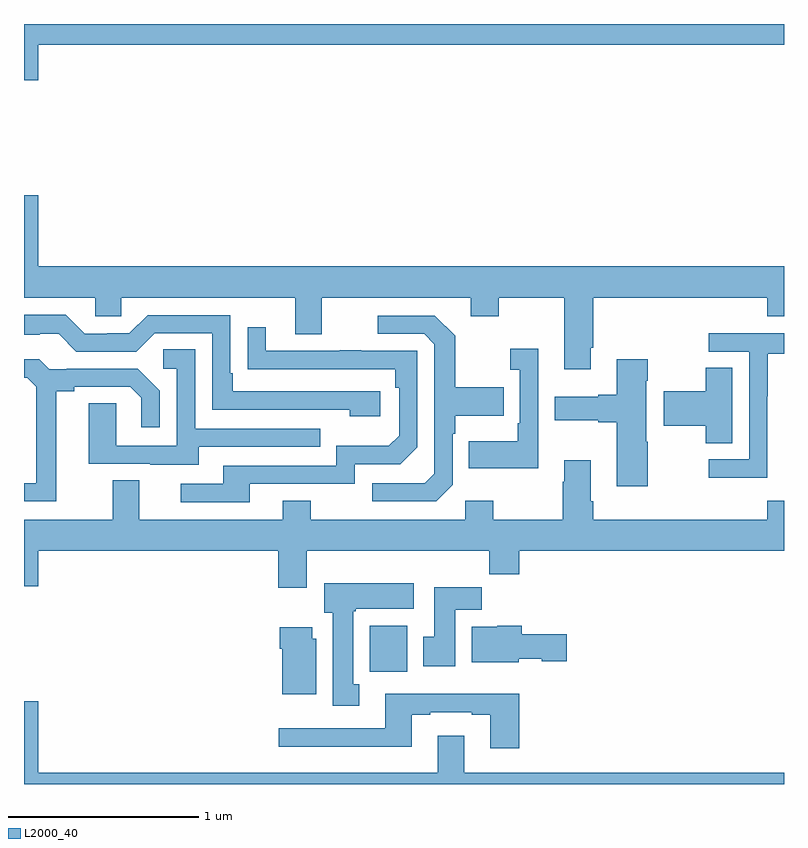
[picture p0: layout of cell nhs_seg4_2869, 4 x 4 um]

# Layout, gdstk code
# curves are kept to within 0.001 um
import gdstk
lib = gdstk.Library(unit=1e-6, precision=1e-09)
def R(c, l, rs):  # rectangles x0, y0, x1, y1
    for r in rs: c.add(gdstk.rectangle(r[:2], r[2:], *l))
def P(c, l, *ps):  # polygons
    for p in ps: c.add(gdstk.Polygon(p, *l))
L2000_40 = (2000, 40)

nhs_seg4_2869 = lib.new_cell('nhs_seg4_2869')
R(nhs_seg4_2869, L2000_40, [(262.82,821.492,263.017,821.734)])
P(nhs_seg4_2869, L2000_40, [(261.076,824.792),(265,824.792),(265,824.9),(261,824.9),(261,824.604),(261.076,824.604)],
  [(263.983,823.195),(263.996,823.195),(263.996,823.46),(264.911,823.46),(264.911,823.361),(265,823.361),(265,823.624),(261.076,823.624),(261.076,823.999),(261,823.999),(261,823.46),(261.375,823.46),(261.375,823.362),(261.513,823.362),(261.513,823.46),(262.427,823.46),(262.427,823.266),(262.567,823.266),(262.567,823.46),(263.351,823.46),(263.351,823.361),(263.499,823.361),(263.499,823.46),(263.843,823.46),(263.843,823.083),(263.983,823.083)],
  [(262.876,822.966),(262.099,822.966),(262.099,823.063),(262.086,823.063),(262.086,823.368),(261.651,823.368),(261.555,823.272),(261.437,823.272),(261.437,823.269),(261.321,823.269),(261.221,823.369),(261,823.369),(261,823.265),(261.083,823.265),(261.083,823.269),(261.183,823.269),(261.276,823.176),(261.591,823.176),(261.687,823.272),(261.99,823.272),(261.99,822.87),(262.715,822.87),(262.715,822.836),(262.876,822.836)],
  [(263.256,822.474),(263.256,822.743),(263.269,822.743),(263.269,822.839),(263.525,822.839),(263.525,822.987),(263.269,822.987),(263.269,823.259),(263.163,823.365),(262.863,823.365),(262.863,823.269),(263.106,823.269),(263.16,823.215),(263.16,822.534),(263.109,822.483),(262.833,822.483),(262.833,822.387),(263.169,822.387)],
  [(262.189,822.48),(262.74,822.48),(262.74,822.582),(262.98,822.582),(263.07,822.672),(263.07,823.179),(262.775,823.179),(262.775,823.184),(262.663,823.184),(262.663,823.179),(262.273,823.179),(262.273,823.303),(262.177,823.303),(262.177,823.084),(262.954,823.083),(262.954,822.986),(262.974,822.986),(262.974,822.732),(262.921,822.679),(262.644,822.679),(262.644,822.576),(262.049,822.576),(262.049,822.48),(261.825,822.48),(261.825,822.384),(262.189,822.384)],
  [(264.912,822.94),(264.915,822.94),(264.915,823.164),(265,823.164),(265,823.272),(264.603,823.272),(264.603,823.176),(264.816,823.176),(264.816,822.609),(264.603,822.609),(264.603,822.511),(264.912,822.511)],
  [(263.706,823.192),(263.559,823.192),(263.559,823.079),(263.61,823.079),(263.61,822.799),(263.598,822.799),(263.598,822.703),(263.341,822.703),(263.341,822.563),(263.706,822.563)],
  [(261.919,822.675),(262.559,822.675),(262.559,822.771),(261.9,822.771),(261.9,823.187),(261.732,823.187),(261.732,823.086),(261.804,823.086),(261.804,822.681),(261.486,822.681),(261.486,822.905),(261.341,822.905),(261.341,822.585),(261.665,822.585),(261.665,822.581),(261.919,822.581)],
  [(264.282,822.701),(264.274,822.701),(264.274,823.022),(264.282,823.022),(264.282,823.135),(264.119,823.135),(264.119,822.95),(264.023,822.95),(264.023,822.937),(263.793,822.937),(263.793,822.815),(264.023,822.815),(264.023,822.803),(264.119,822.803),(264.119,822.468),(264.282,822.468)],
  [(261.169,822.968),(261.265,822.968),(261.265,822.99),(261.56,822.99),(261.617,822.933),(261.617,822.777),(261.714,822.777),(261.714,822.97),(261.598,823.086),(261.226,823.086),(261.226,823.083),(261.132,823.083),(261.08,823.135),(261,823.135),(261,823.038),(261.018,823.038),(261.065,822.991),(261.065,822.483),(261,822.483),(261,822.387),(261.169,822.387)],
  [(264.727,823.091),(264.589,823.091),(264.589,822.968),(264.366,822.968),(264.366,822.785),(264.589,822.785),(264.589,822.694),(264.727,822.694)],
  [(262.489,822.128),(263.449,822.128),(263.449,822.004),(263.606,822.004),(263.606,822.128),(265,822.128),(265,822.391),(264.911,822.391),(264.911,822.292),(263.996,822.292),(263.996,822.388),(263.983,822.388),(263.983,822.604),(263.843,822.604),(263.843,822.491),(263.836,822.491),(263.836,822.292),(263.469,822.292),(263.469,822.391),(263.322,822.391),(263.322,822.292),(262.509,822.292),(262.509,822.391),(262.361,822.391),(262.361,822.292),(261.607,822.292),(261.607,822.5),(261.467,822.5),(261.467,822.292),(261,822.292),(261,821.94),(261.076,821.94),(261.076,822.128),(262.337,822.128),(262.337,821.934),(262.489,821.934)],
  [(262.765,821.426),(262.732,821.426),(262.732,821.809),(262.746,821.809),(262.746,821.822),(263.05,821.822),(263.05,821.956),(262.58,821.956),(262.58,821.802),(262.625,821.802),(262.625,821.313),(262.765,821.313)],
  [(263.269,821.816),(263.408,821.816),(263.408,821.935),(263.159,821.935),(263.159,821.676),(263.102,821.676),(263.102,821.52),(263.269,821.52)],
  [(263.604,821.558),(263.724,821.558),(263.724,821.546),(263.857,821.546),(263.857,821.688),(263.621,821.688),(263.621,821.734),(263.49,821.734),(263.49,821.728),(263.357,821.728),(263.357,821.54),(263.604,821.54)],
  [(262.537,821.664),(262.516,821.664),(262.516,821.725),(262.346,821.725),(262.346,821.612),(262.358,821.612),(262.358,821.372),(262.537,821.372)],
  [(263.606,821.374),(262.901,821.374),(262.901,821.193),(262.341,821.193),(262.341,821.096),(263.041,821.096),(263.041,821.265),(263.137,821.265),(263.137,821.277),(263.357,821.277),(263.357,821.265),(263.453,821.265),(263.453,821.088),(263.606,821.088)],
  [(265,820.96),(263.317,820.96),(263.317,821.155),(263.177,821.155),(263.177,820.96),(261.076,820.96),(261.076,821.335),(261,821.335),(261,820.9),(265,820.9)])

lib.write_gds('nhs_seg4_2869.gds')
